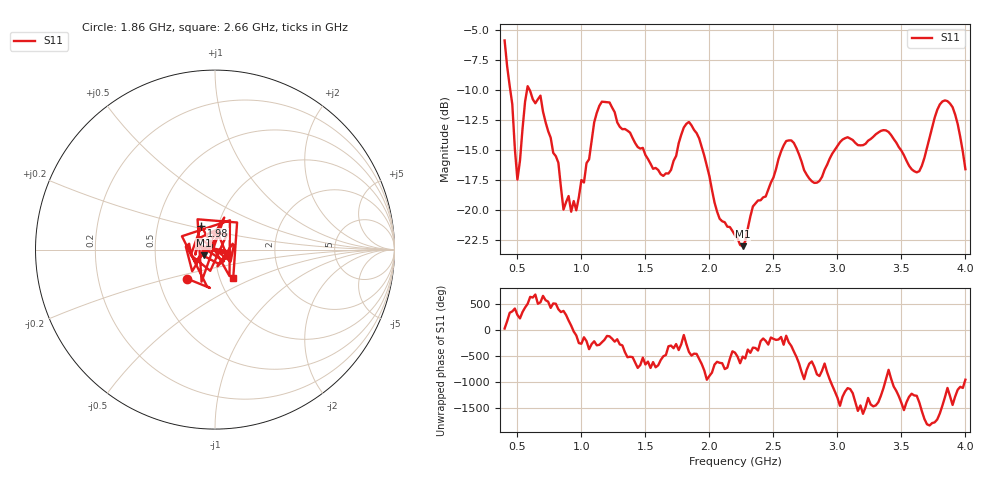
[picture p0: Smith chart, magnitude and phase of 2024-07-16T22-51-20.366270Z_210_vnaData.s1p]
!Created with skrf (http://scikit-rf.org).
# Hz S RI R 50.0
!freq ReS11 ImS11
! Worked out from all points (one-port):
!   181 points, 400 MHz to 4 GHz, reference 50 ohm
!   lowest |S11| = -23.0 dB at 2.26 GHz (marker M1), VSWR 1.15, Z = 43.9 - j2.71 ohm
!   |S11| at or under -10 dB: 444.2 MHz to 575.1 MHz (131 MHz wide, 25.7 % of centre); 595.5 MHz to end of sweep
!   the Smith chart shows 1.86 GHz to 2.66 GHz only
!   S11 on the Smith chart (normalised r, x): 1.86 GHz: 0.70, -0.24; 1.98 GHz: 0.83, +0.22; 2.66 GHz: 1.16, -0.39
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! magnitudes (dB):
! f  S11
! 400 MHz  -5.9
! 460 MHz  -11.2
! 500 MHz  -17.5
! 580 MHz  -9.7
! 680 MHz  -10.5
! 820 MHz  -16.1
! 860 MHz  -20.0
! 900 MHz  -18.8
! 960 MHz  -20.0
! 1.16 GHz  -11.0
! 1.3 GHz  -13.1
! 1.64 GHz  -17.2
! 1.76 GHz  -14.4
! 1.86 GHz  -12.9
! 1.98 GHz  -16.3
! 2.08 GHz  -20.7
! 2.2 GHz  -22.1
! 2.26 GHz  -23.0
! 2.34 GHz  -19.7
! 2.66 GHz  -14.4
! 2.82 GHz  -17.7
! 3.1 GHz  -14.1
! 3.38 GHz  -13.4
! 3.56 GHz  -16.3
! 3.64 GHz  -16.8
! 3.84 GHz  -10.9
! 3.92 GHz  -12.0
! 4 GHz  -16.6
